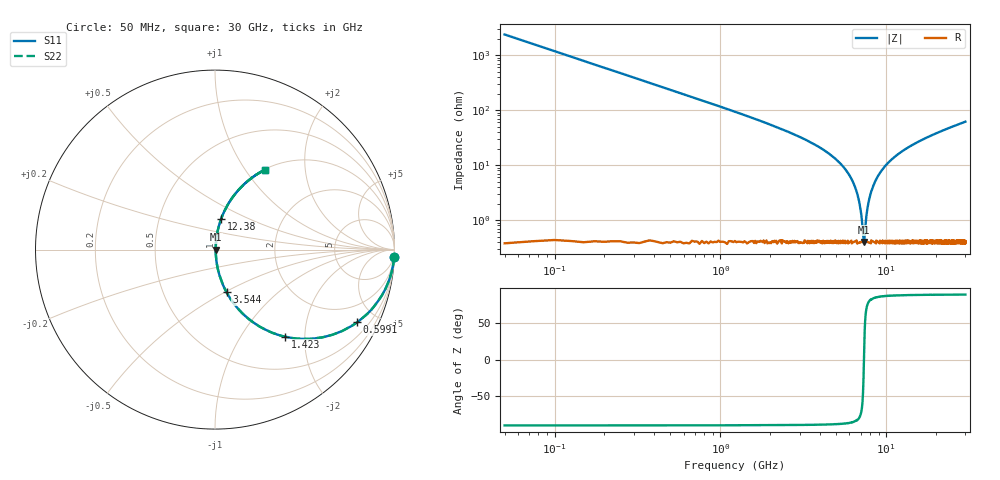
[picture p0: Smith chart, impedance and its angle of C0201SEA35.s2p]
!	AVX Thin Film Operation 	Date: April 2014
!	Description: Accu-P® Series, Thin Film  SMD RF Capacitor
!	Part Number: 02015JA35PBSTR
# MHZ S MA R 50
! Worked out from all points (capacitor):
!   1201 points, 50 MHz to 30 GHz, reference 50 ohm
!   read as one part in series: C = 1.35 pF near 199.8 MHz
!   lowest |Z| = 402 mohm at 7.338 GHz (marker M1)
!   series resonance near 7.335 GHz, so ESL is about 350 pH
!   S11 on the Smith chart (normalised r, x): 50 MHz: 1, -47; 599.1 MHz: 1.00, -3.91; 1.423 GHz: 1.01, -1.60; 3.544 GHz: 1.01, -0.51; 12.38 GHz: 1.01, +0.35; 30 GHz: 1.01, +1.24
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50  0.999 -2.4  0.042 87.6  0.042 87.6  0.999 -2.4
299.583  0.969 -14.3  0.247 75.7  0.247 75.7  0.969 -14.3
599.083  0.89 -27.1  0.455 62.8  0.455 62.8  0.89 -27.1
1422.708  0.622 -51.3  0.78 38.5  0.78 38.5  0.622 -51.3
2296.25  0.419 -64.7  0.904 24.8  0.904 24.8  0.419 -64.7
3544.167  0.246 -74.8  0.965 14.2  0.965 14.2  0.246 -74.8
5041.667  0.122 -81.1  0.989 7.0  0.989 7.0  0.122 -81.1
5965.125  0.067 -82.7  0.994 3.8  0.994 3.8  0.067 -82.7
6564.125  0.036 -81.5  0.995 2.0  0.995 2.0  0.036 -81.5
6938.5  0.018 -76.3  0.996 1.0  0.996 1.0  0.018 -76.3
7238  0.005832 -46.4  0.996 0.2  0.996 0.2  0.005832 -46.4
7337.833  0.004007 2.1  0.996 -0.0  0.996 -0.0  0.004007 2.1
7437.667  0.006003 47.9  0.996 -0.3  0.996 -0.3  0.006003 47.9
7762.125  0.019 76.5  0.996 -1.0  0.996 -1.0  0.019 76.5
8161.458  0.034 81.4  0.995 -2.0  0.995 -2.0  0.034 81.4
8960.125  0.065 82.8  0.994 -3.7  0.994 -3.7  0.065 82.8
10058.29  0.102 81.9  0.991 -5.9  0.991 -5.9  0.102 81.9
12379.42  0.173 78.7  0.981 -9.9  0.981 -9.9  0.173 78.7
15025  0.242 75.1  0.966 -14.0  0.966 -14.0  0.242 75.1
20016.67  0.354 68.7  0.932 -20.7  0.932 -20.7  0.354 68.7
25033.29  0.447 63.0  0.891 -26.5  0.891 -26.5  0.447 63.0
30000  0.524 58.0  0.848 -31.6  0.848 -31.6  0.524 58.0
